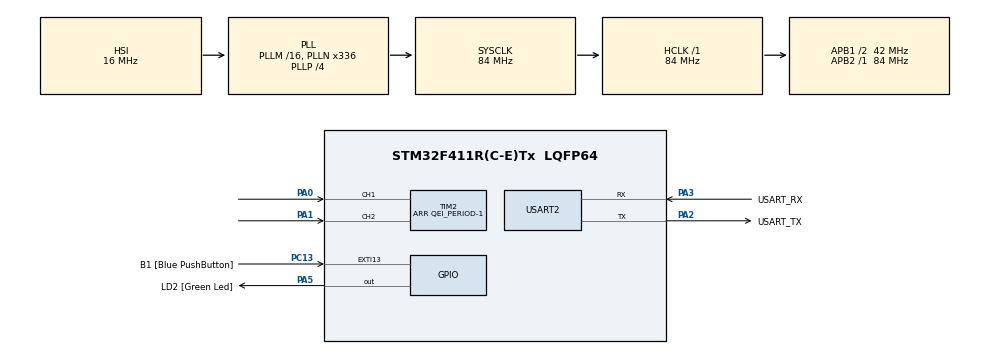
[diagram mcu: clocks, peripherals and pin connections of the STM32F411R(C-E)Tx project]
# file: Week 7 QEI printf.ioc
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Mcu.Family=STM32F4
Mcu.Name=STM32F411R(C-E)Tx
Mcu.Package=LQFP64
Mcu.UserConstants=QEI_PERIOD,64512
NVIC.PriorityGroup=NVIC_PRIORITYGROUP_0
NVIC.TIM5_IRQn=true\:0\:0\:false\:false\:true\:true\:true\:true
PA0-WKUP.Signal=S_TIM2_CH1_ETR
PA1.Signal=S_TIM2_CH2
PA13.GPIO_Label=TMS
PA13.Mode=Trace_Asynchronous_SW
PA13.Signal=SYS_JTMS-SWDIO
PA14.GPIO_Label=TCK
PA14.Mode=Trace_Asynchronous_SW
PA14.Signal=SYS_JTCK-SWCLK
PA2.GPIO_Label=USART_TX
PA2.Mode=Asynchronous
PA2.Signal=USART2_TX
PA3.GPIO_Label=USART_RX
PA3.Mode=Asynchronous
PA3.Signal=USART2_RX
PA5.GPIO_Label=LD2 [Green Led]
PA5.Signal=GPIO_Output
PB3.GPIO_Label=SWO
PB3.Mode=Trace_Asynchronous_SW
PB3.Signal=SYS_JTDO-SWO
PC13-ANTI_TAMP.GPIO_Label=B1 [Blue PushButton]
PC13-ANTI_TAMP.GPIO_ModeDefaultEXTI=GPIO_MODE_IT_FALLING
PC13-ANTI_TAMP.Signal=GPXTI13
PC14-OSC32_IN.Mode=LSE-External-Oscillator
PC14-OSC32_IN.Signal=RCC_OSC32_IN
PC15-OSC32_OUT.Mode=LSE-External-Oscillator
PC15-OSC32_OUT.Signal=RCC_OSC32_OUT
PH0\ -\ OSC_IN.Mode=HSE-External-Clock-Source
PH0\ -\ OSC_IN.Signal=RCC_OSC_IN
PH1\ -\ OSC_OUT.Mode=HSE-External-Clock-Source
PH1\ -\ OSC_OUT.Signal=RCC_OSC_OUT
ProjectManager.HeapSize=0x200
ProjectManager.StackSize=0x400
ProjectManager.TargetToolchain=STM32CubeIDE
RCC.48MHZClocksFreq_Value=84000000
RCC.AHBFreq_Value=84000000
RCC.APB1CLKDivider=RCC_HCLK_DIV2
RCC.APB1Freq_Value=42000000
RCC.APB1TimFreq_Value=84000000
RCC.APB2Freq_Value=84000000
RCC.APB2TimFreq_Value=84000000
RCC.CortexFreq_Value=84000000
RCC.FLatency-AdvancedSettings=FLASH_LATENCY_2
RCC.HCLKFreq_Value=84000000
RCC.HSE_VALUE=8000000
RCC.HSI_VALUE=16000000
RCC.PLLN=336
RCC.PLLP=RCC_PLLP_DIV4
RCC.SYSCLKFreq_VALUE=84000000
RCC.SYSCLKSource=RCC_SYSCLKSOURCE_PLLCLK
RCC.VCOOutputFreq_Value=336000000
SH.S_TIM2_CH1_ETR.0=TIM2_CH1,Encoder_Interface
SH.S_TIM2_CH2.0=TIM2_CH2,Encoder_Interface
TIM2.EncoderMode=TIM_ENCODERMODE_TI12
TIM2.Period=QEI_PERIOD-1
TIM5.Prescaler=83
USART2.VirtualMode=VM_ASYNC
VP_TIM5_VS_ClockSourceINT.Mode=Internal
board=NUCLEO-F411RE

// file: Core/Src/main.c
/* USER CODE BEGIN Header */
/**
 ******************************************************************************
 * @file           : main.c
 * @brief          : Main program body
 ******************************************************************************
 * @attention
 *
 * Copyright (c) 2023 STMicroelectronics.
 * All rights reserved.
 *
 * This software is licensed under terms that can be found in the LICENSE file
 * in the root directory of this software component.
 * If no LICENSE file comes with this software, it is provided AS-IS.
 *
 ******************************************************************************
 */
/* USER CODE END Header */
#include "main.h"

TIM_HandleTypeDef htim2;
TIM_HandleTypeDef htim5;

UART_HandleTypeDef huart2;

/* USER CODE BEGIN PV */

uint32_t QEIReadRaw;
uint32_t degrees;

typedef struct _QEIStructure {
	uint32_t data[2];
	uint64_t timestamp[2];

	float QEIPosition;
	float QEIVelocity;
} QEIStructureTypedef;

QEIStructureTypedef QEIData = { 0 };

uint64_t _micros = 0;

/* USER CODE END PV */

void SystemClock_Config(void);
static void MX_GPIO_Init(void);
static void MX_USART2_UART_Init(void);
static void MX_TIM2_Init(void);
static void MX_TIM5_Init(void);
/* USER CODE BEGIN PFP */

inline uint64_t micros();
void QEIEncoderPositionVelocity_Update();

/* USER CODE END PFP */

int main(void) {

	/* MCU Configuration--------------------------------------------------------*/

	/* Reset of all peripherals, Initializes the Flash interface and the Systick. */
	HAL_Init();

	/* Configure the system clock */
	SystemClock_Config();

	/* Initialize all configured peripherals */
	MX_GPIO_Init();
	MX_USART2_UART_Init();
	MX_TIM2_Init();
	MX_TIM5_Init();
	/* USER CODE BEGIN 2 */

	HAL_TIM_Encoder_Start(&htim2, TIM_CHANNEL_1 | TIM_CHANNEL_2);
	HAL_TIM_Base_Start(&htim5);

	/* USER CODE END 2 */

	/* Infinite loop */
	/* USER CODE BEGIN WHILE */
	while (1) {
		QEIReadRaw = __HAL_TIM_GET_COUNTER(&htim2);
		degrees = QEIReadRaw * 360.0 / 3072.0;

		static uint32_t timestamp = 0;
		if (HAL_GetTick() > timestamp) {
			timestamp = HAL_GetTick() + 100;
			QEIReadRaw = __HAL_TIM_GET_COUNTER(&htim2);
			printf("Position = %d\n", QEIReadRaw);
		}

		static uint64_t timestamp2 = 0;
		int64_t currentTime = micros();
		if(currentTime > timestamp2){
			timestamp2 = currentTime + 100000;
			QEIEncoderPositionVelocity_Update();
		}

		/* USER CODE END WHILE */

	}
}

void SystemClock_Config(void) {
	RCC_OscInitTypeDef RCC_OscInitStruct = { 0 };
	RCC_ClkInitTypeDef RCC_ClkInitStruct = { 0 };

	/** Configure the main internal regulator output voltage
	 */
	__HAL_RCC_PWR_CLK_ENABLE();
	__HAL_PWR_VOLTAGESCALING_CONFIG(PWR_REGULATOR_VOLTAGE_SCALE1);

	/** Initializes the RCC Oscillators according to the specified parameters
	 * in the RCC_OscInitTypeDef structure.
	 */
	RCC_OscInitStruct.OscillatorType = RCC_OSCILLATORTYPE_HSI;
	RCC_OscInitStruct.HSIState = RCC_HSI_ON;
	RCC_OscInitStruct.HSICalibrationValue = RCC_HSICALIBRATION_DEFAULT;
	RCC_OscInitStruct.PLL.PLLState = RCC_PLL_ON;
	RCC_OscInitStruct.PLL.PLLSource = RCC_PLLSOURCE_HSI;
	RCC_OscInitStruct.PLL.PLLM = 16;
	RCC_OscInitStruct.PLL.PLLN = 336;
	RCC_OscInitStruct.PLL.PLLP = RCC_PLLP_DIV4;
	RCC_OscInitStruct.PLL.PLLQ = 4;
	if (HAL_RCC_OscConfig(&RCC_OscInitStruct) != HAL_OK) {
		Error_Handler();
	}

	/** Initializes the CPU, AHB and APB buses clocks
	 */
	RCC_ClkInitStruct.ClockType = RCC_CLOCKTYPE_HCLK | RCC_CLOCKTYPE_SYSCLK | RCC_CLOCKTYPE_PCLK1 | RCC_CLOCKTYPE_PCLK2;
	RCC_ClkInitStruct.SYSCLKSource = RCC_SYSCLKSOURCE_PLLCLK;
	RCC_ClkInitStruct.AHBCLKDivider = RCC_SYSCLK_DIV1;
	RCC_ClkInitStruct.APB1CLKDivider = RCC_HCLK_DIV2;
	RCC_ClkInitStruct.APB2CLKDivider = RCC_HCLK_DIV1;

	if (HAL_RCC_ClockConfig(&RCC_ClkInitStruct, FLASH_LATENCY_2) != HAL_OK) {
		Error_Handler();
	}
}

static void MX_TIM2_Init(void) {

	TIM_Encoder_InitTypeDef sConfig = { 0 };
	TIM_MasterConfigTypeDef sMasterConfig = { 0 };

	htim2.Instance = TIM2;
	htim2.Init.Prescaler = 0;
	htim2.Init.CounterMode = TIM_COUNTERMODE_UP;
	htim2.Init.Period = QEI_PERIOD - 1;
	htim2.Init.ClockDivision = TIM_CLOCKDIVISION_DIV1;
	htim2.Init.AutoReloadPreload = TIM_AUTORELOAD_PRELOAD_DISABLE;
	sConfig.EncoderMode = TIM_ENCODERMODE_TI12;
	sConfig.IC1Polarity = TIM_ICPOLARITY_RISING;
	sConfig.IC1Selection = TIM_ICSELECTION_DIRECTTI;
	sConfig.IC1Prescaler = TIM_ICPSC_DIV1;
	sConfig.IC1Filter = 0;
	sConfig.IC2Polarity = TIM_ICPOLARITY_RISING;
	sConfig.IC2Selection = TIM_ICSELECTION_DIRECTTI;
	sConfig.IC2Prescaler = TIM_ICPSC_DIV1;
	sConfig.IC2Filter = 0;
	if (HAL_TIM_Encoder_Init(&htim2, &sConfig) != HAL_OK) {
		Error_Handler();
	}
	sMasterConfig.MasterOutputTrigger = TIM_TRGO_RESET;
	sMasterConfig.MasterSlaveMode = TIM_MASTERSLAVEMODE_DISABLE;
	if (HAL_TIMEx_MasterConfigSynchronization(&htim2, &sMasterConfig) != HAL_OK) {
		Error_Handler();
	}

}

static void MX_TIM5_Init(void) {

	TIM_ClockConfigTypeDef sClockSourceConfig = { 0 };
	TIM_MasterConfigTypeDef sMasterConfig = { 0 };

	htim5.Instance = TIM5;
	htim5.Init.Prescaler = 83;
	htim5.Init.CounterMode = TIM_COUNTERMODE_UP;
	htim5.Init.Period = 4294967295;
	htim5.Init.ClockDivision = TIM_CLOCKDIVISION_DIV1;
	htim5.Init.AutoReloadPreload = TIM_AUTORELOAD_PRELOAD_DISABLE;
	if (HAL_TIM_Base_Init(&htim5) != HAL_OK) {
		Error_Handler();
	}
	sClockSourceConfig.ClockSource = TIM_CLOCKSOURCE_INTERNAL;
	if (HAL_TIM_ConfigClockSource(&htim5, &sClockSourceConfig) != HAL_OK) {
		Error_Handler();
	}
	sMasterConfig.MasterOutputTrigger = TIM_TRGO_RESET;
	sMasterConfig.MasterSlaveMode = TIM_MASTERSLAVEMODE_DISABLE;
	if (HAL_TIMEx_MasterConfigSynchronization(&htim5, &sMasterConfig) != HAL_OK) {
		Error_Handler();
	}

}

static void MX_USART2_UART_Init(void) {

	huart2.Instance = USART2;
	huart2.Init.BaudRate = 115200;
	huart2.Init.WordLength = UART_WORDLENGTH_8B;
	huart2.Init.StopBits = UART_STOPBITS_1;
	huart2.Init.Parity = UART_PARITY_NONE;
	huart2.Init.Mode = UART_MODE_TX_RX;
	huart2.Init.HwFlowCtl = UART_HWCONTROL_NONE;
	huart2.Init.OverSampling = UART_OVERSAMPLING_16;
	if (HAL_UART_Init(&huart2) != HAL_OK) {
		Error_Handler();
	}

}

static void MX_GPIO_Init(void) {
	GPIO_InitTypeDef GPIO_InitStruct = { 0 };

	/* GPIO Ports Clock Enable */
	__HAL_RCC_GPIOC_CLK_ENABLE();
	__HAL_RCC_GPIOH_CLK_ENABLE();
	__HAL_RCC_GPIOA_CLK_ENABLE();
	__HAL_RCC_GPIOB_CLK_ENABLE();

	/*Configure GPIO pin Output Level */
	HAL_GPIO_WritePin(LD2_GPIO_Port, LD2_Pin, GPIO_PIN_RESET);

	/*Configure GPIO pin : B1_Pin */
	GPIO_InitStruct.Pin = B1_Pin;
	GPIO_InitStruct.Mode = GPIO_MODE_IT_FALLING;
	GPIO_InitStruct.Pull = GPIO_NOPULL;
	HAL_GPIO_Init(B1_GPIO_Port, &GPIO_InitStruct);

	/*Configure GPIO pin : LD2_Pin */
	GPIO_InitStruct.Pin = LD2_Pin;
	GPIO_InitStruct.Mode = GPIO_MODE_OUTPUT_PP;
	GPIO_InitStruct.Pull = GPIO_NOPULL;
	GPIO_InitStruct.Speed = GPIO_SPEED_FREQ_LOW;
	HAL_GPIO_Init(LD2_GPIO_Port, &GPIO_InitStruct);

}

/* USER CODE BEGIN 4 */

int _write(int file, char *ptr, int len) {
	int i;

	for (i = 0; i < len; i++) {
		ITM_SendChar(*ptr++);
	}
	return len;
}

void HAL_TIM_PeriodElapsedCallback(TIM_HandleTypeDef *htim) {
	if (htim = &htim5) {
		_micros += UINT32_MAX;
	}
}

uint64_t micros() {
	return __HAL_TIM_GET_COUNTER(&htim5) + _micros;
}

void QEIEncoderPositionVelocity_Update(){
	// collect data
	QEIData.timestamp[0] = micros();
	uint32_t counterPosition = __HAL_TIM_GET_COUNTER(&htim2);
	QEIData.data[0] = counterPosition;

	// calculation
	QEIData.QEIPosition = counterPosition % 3072;

	int32_t diffPosition = QEIData.data[0] - QEIData.data[1];
	float difftime = (QEIData.timestamp[0] - QEIData.timestamp[1]);

	// wrapping
	if(diffPosition > QEI_PERIOD>>1) diffPosition -= QEI_PERIOD;
	if(diffPosition < -(QEI_PERIOD>>1)) diffPosition += QEI_PERIOD;

	// calculate speed
	QEIData.QEIVelocity = (diffPosition * 1000000) / difftime;

	QEIData.data[1] = QEIData.data[0];
	QEIData.timestamp[1] = QEIData.timestamp[0];
}

/* USER CODE END 4 */

void Error_Handler(void) {
	__disable_irq();
	while (1) {
	}
}
